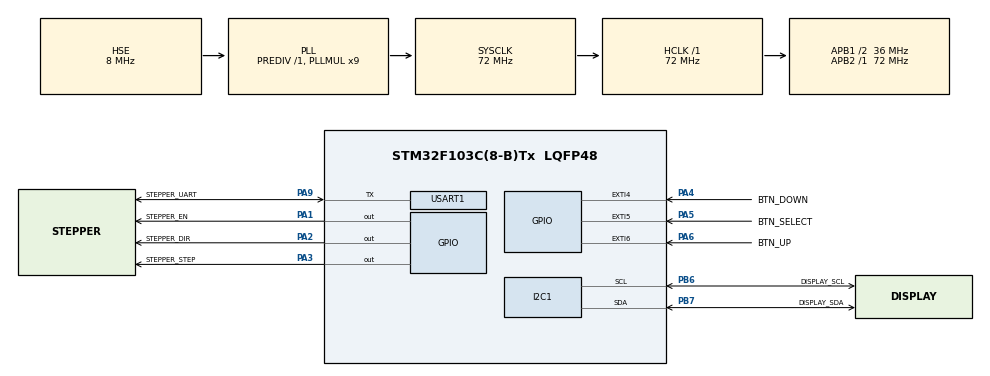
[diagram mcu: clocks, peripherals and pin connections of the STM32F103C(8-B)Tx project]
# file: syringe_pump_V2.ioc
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Mcu.Family=STM32F1
Mcu.Name=STM32F103C(8-B)Tx
Mcu.Package=LQFP48
NVIC.EXTI4_IRQn=true\:0\:0\:false\:false\:true\:true\:true\:true
NVIC.EXTI9_5_IRQn=true\:0\:0\:false\:false\:true\:true\:true\:true
NVIC.PriorityGroup=NVIC_PRIORITYGROUP_4
NVIC.TIM3_IRQn=true\:0\:0\:true\:false\:true\:true\:true\:true
NVIC.USART1_IRQn=true\:0\:0\:false\:false\:true\:true\:true\:true
PA1.GPIO_Label=STEPPER_EN
PA1.Signal=GPIO_Output
PA13.Mode=Serial_Wire
PA13.Signal=SYS_JTMS-SWDIO
PA14.Mode=Serial_Wire
PA14.Signal=SYS_JTCK-SWCLK
PA2.GPIO_Label=STEPPER_DIR
PA2.Signal=GPIO_Output
PA3.GPIO_Label=STEPPER_STEP
PA3.Signal=GPIO_Output
PA4.GPIO_Label=BTN_DOWN
PA4.Signal=GPXTI4
PA5.GPIO_Label=BTN_SELECT
PA5.Signal=GPXTI5
PA6.GPIO_Label=BTN_UP
PA6.Signal=GPXTI6
PA9.GPIO_Label=STEPPER_UART
PA9.Mode=Half_duplex(single_wire_mode)
PA9.Signal=USART1_TX
PB6.GPIO_Label=DISPLAY_SCL
PB6.Mode=I2C
PB6.Signal=I2C1_SCL
PB7.GPIO_Label=DISPLAY_SDA
PB7.Mode=I2C
PB7.Signal=I2C1_SDA
PD0-OSC_IN.Mode=HSE-External-Oscillator
PD0-OSC_IN.Signal=RCC_OSC_IN
PD1-OSC_OUT.Mode=HSE-External-Oscillator
PD1-OSC_OUT.Signal=RCC_OSC_OUT
ProjectManager.HeapSize=0x200
ProjectManager.StackSize=0x400
ProjectManager.TargetToolchain=STM32CubeIDE
RCC.AHBFreq_Value=72000000
RCC.APB1CLKDivider=RCC_HCLK_DIV2
RCC.APB1Freq_Value=36000000
RCC.APB1TimFreq_Value=72000000
RCC.APB2Freq_Value=72000000
RCC.APB2TimFreq_Value=72000000
RCC.HCLKFreq_Value=72000000
RCC.PLLMUL=RCC_PLL_MUL9
RCC.PLLSourceVirtual=RCC_PLLSOURCE_HSE
RCC.SYSCLKFreq_VALUE=72000000
RCC.SYSCLKSource=RCC_SYSCLKSOURCE_PLLCLK
RCC.USBFreq_Value=72000000
TIM3.AutoReloadPreload=TIM_AUTORELOAD_PRELOAD_ENABLE
TIM3.Prescaler=7200-1
USART1.BaudRate=115200
USART1.VirtualMode=VM_ASYNC
VP_TIM3_VS_ClockSourceINT.Mode=Internal
board=custom

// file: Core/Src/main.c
/* USER CODE BEGIN Header */
/**
 ******************************************************************************
 * @file           : main.c
 * @brief          : Main program body
 ******************************************************************************
 * @attention
 *
 * Copyright (c) 2025 STMicroelectronics.
 * All rights reserved.
 *
 * This software is licensed under terms that can be found in the LICENSE file
 * in the root directory of this software component.
 * If no LICENSE file comes with this software, it is provided AS-IS.
 *
 ******************************************************************************
 */
/* USER CODE END Header */
#include "main.h"

/* USER CODE BEGIN Includes */
#include <math.h>
#include <stdio.h>
#include <string.h>

#include "I2C_LCD_cfg.h"
#include "I2C_LCD.h"
#include "Util.h"
#include "TMC2208.h"

/* USER CODE END Includes */

/* USER CODE BEGIN PTD */
typedef struct
{
	float vol_jeringa;
	float vol_dispensar;
	float caudal;
	float diametro;
	float largo;
} ParametrosDispensado;

typedef struct
{
	uint32_t total_pasos;
	uint16_t arr;
	uint8_t micropasos;
} MovimientoMotor;

typedef enum
{
	MENU_VJERINGA,
	MENU_VDISPENSAR,
	MENU_CAUDAL,
	MENU_DIAM_LARGO,
	MENU_CONFIRMAR,
	MENU_EJECUTANDO
} EstadoMenu;

/* USER CODE END PTD */

/* USER CODE BEGIN PD */
#define PASOS_POR_VUELTA 	200
#define PASO_HUSILLO_MM 	8.0f
#define FCLK_TIMER 			72000000UL
#define MAX_STR 			32

#define MyI2C_LCD 			I2C_LCD_1

#define DEBOUNCE_DELAY		150

/* USER CODE END PD */

I2C_HandleTypeDef hi2c1;

TIM_HandleTypeDef htim3;

UART_HandleTypeDef huart1;

/* USER CODE BEGIN PV */
ParametrosDispensado parametros = {0};
MovimientoMotor motor_cfg = {0};
EstadoMenu estado_actual = MENU_VJERINGA;

volatile uint32_t pasos_dados = 0;
volatile uint32_t total_pasos_a_dar = 0;

uint32_t last_interrupt_time = 0;

/* USER CODE END PV */

void SystemClock_Config(void);
static void MX_GPIO_Init(void);
static void MX_USART1_UART_Init(void);
static void MX_TIM3_Init(void);
static void MX_I2C1_Init(void);

/* USER CODE BEGIN PFP */
float calcular_area_mm2(float d);
float calcular_desplazamiento_mm(ParametrosDispensado *p);
MovimientoMotor calcular_parametros_motor(ParametrosDispensado *p);
void configurar_timer_motor(uint16_t arr);
void mostrar_menu(void);
void avanzar_menu(void);
void incrementar_valor(void);
void decrementar_valor(void);
void boton_select_callback(void);

/* USER CODE END PFP */

int main(void)
{

	/* MCU Configuration--------------------------------------------------------*/

	/* Reset of all peripherals, Initializes the Flash interface and the Systick. */
	HAL_Init();

	/* Configure the system clock */
	SystemClock_Config();

	/* Initialize all configured peripherals */
	MX_GPIO_Init();
	MX_USART1_UART_Init();
	MX_TIM3_Init();
	MX_I2C1_Init();
	/* USER CODE BEGIN 2 */
	I2C_LCD_Init(MyI2C_LCD);
	I2C_LCD_Clear(MyI2C_LCD);
	mostrar_menu();

	/* USER CODE END 2 */

	/* Infinite loop */
	while (1)
	{

	}
}

void SystemClock_Config(void)
{
	RCC_OscInitTypeDef RCC_OscInitStruct = {0};
	RCC_ClkInitTypeDef RCC_ClkInitStruct = {0};

	/** Initializes the RCC Oscillators according to the specified parameters
	 * in the RCC_OscInitTypeDef structure.
	 */
	RCC_OscInitStruct.OscillatorType = RCC_OSCILLATORTYPE_HSE;
	RCC_OscInitStruct.HSEState = RCC_HSE_ON;
	RCC_OscInitStruct.HSEPredivValue = RCC_HSE_PREDIV_DIV1;
	RCC_OscInitStruct.HSIState = RCC_HSI_ON;
	RCC_OscInitStruct.PLL.PLLState = RCC_PLL_ON;
	RCC_OscInitStruct.PLL.PLLSource = RCC_PLLSOURCE_HSE;
	RCC_OscInitStruct.PLL.PLLMUL = RCC_PLL_MUL9;
	if (HAL_RCC_OscConfig(&RCC_OscInitStruct) != HAL_OK)
	{
		Error_Handler();
	}

	/** Initializes the CPU, AHB and APB buses clocks
	 */
	RCC_ClkInitStruct.ClockType = RCC_CLOCKTYPE_HCLK|RCC_CLOCKTYPE_SYSCLK
			|RCC_CLOCKTYPE_PCLK1|RCC_CLOCKTYPE_PCLK2;
	RCC_ClkInitStruct.SYSCLKSource = RCC_SYSCLKSOURCE_PLLCLK;
	RCC_ClkInitStruct.AHBCLKDivider = RCC_SYSCLK_DIV1;
	RCC_ClkInitStruct.APB1CLKDivider = RCC_HCLK_DIV2;
	RCC_ClkInitStruct.APB2CLKDivider = RCC_HCLK_DIV1;

	if (HAL_RCC_ClockConfig(&RCC_ClkInitStruct, FLASH_LATENCY_2) != HAL_OK)
	{
		Error_Handler();
	}
}

static void MX_I2C1_Init(void)
{

	hi2c1.Instance = I2C1;
	hi2c1.Init.ClockSpeed = 100000;
	hi2c1.Init.DutyCycle = I2C_DUTYCYCLE_2;
	hi2c1.Init.OwnAddress1 = 0;
	hi2c1.Init.AddressingMode = I2C_ADDRESSINGMODE_7BIT;
	hi2c1.Init.DualAddressMode = I2C_DUALADDRESS_DISABLE;
	hi2c1.Init.OwnAddress2 = 0;
	hi2c1.Init.GeneralCallMode = I2C_GENERALCALL_DISABLE;
	hi2c1.Init.NoStretchMode = I2C_NOSTRETCH_DISABLE;
	if (HAL_I2C_Init(&hi2c1) != HAL_OK)
	{
		Error_Handler();
	}

}

static void MX_TIM3_Init(void)
{

	TIM_ClockConfigTypeDef sClockSourceConfig = {0};
	TIM_MasterConfigTypeDef sMasterConfig = {0};

	htim3.Instance = TIM3;
	htim3.Init.Prescaler = 7200-1;
	htim3.Init.CounterMode = TIM_COUNTERMODE_UP;
	htim3.Init.Period = 65535;
	htim3.Init.ClockDivision = TIM_CLOCKDIVISION_DIV1;
	htim3.Init.AutoReloadPreload = TIM_AUTORELOAD_PRELOAD_ENABLE;
	if (HAL_TIM_Base_Init(&htim3) != HAL_OK)
	{
		Error_Handler();
	}
	sClockSourceConfig.ClockSource = TIM_CLOCKSOURCE_INTERNAL;
	if (HAL_TIM_ConfigClockSource(&htim3, &sClockSourceConfig) != HAL_OK)
	{
		Error_Handler();
	}
	sMasterConfig.MasterOutputTrigger = TIM_TRGO_RESET;
	sMasterConfig.MasterSlaveMode = TIM_MASTERSLAVEMODE_DISABLE;
	if (HAL_TIMEx_MasterConfigSynchronization(&htim3, &sMasterConfig) != HAL_OK)
	{
		Error_Handler();
	}

}

static void MX_USART1_UART_Init(void)
{

	huart1.Instance = USART1;
	huart1.Init.BaudRate = 115200;
	huart1.Init.WordLength = UART_WORDLENGTH_8B;
	huart1.Init.StopBits = UART_STOPBITS_1;
	huart1.Init.Parity = UART_PARITY_NONE;
	huart1.Init.Mode = UART_MODE_TX_RX;
	huart1.Init.HwFlowCtl = UART_HWCONTROL_NONE;
	huart1.Init.OverSampling = UART_OVERSAMPLING_16;
	if (HAL_HalfDuplex_Init(&huart1) != HAL_OK)
	{
		Error_Handler();
	}

}

static void MX_GPIO_Init(void)
{
	GPIO_InitTypeDef GPIO_InitStruct = {0};

	/* GPIO Ports Clock Enable */
	__HAL_RCC_GPIOD_CLK_ENABLE();
	__HAL_RCC_GPIOA_CLK_ENABLE();
	__HAL_RCC_GPIOB_CLK_ENABLE();

	/*Configure GPIO pin Output Level */
	HAL_GPIO_WritePin(GPIOA, STEPPER_EN_Pin|STEPPER_DIR_Pin|STEPPER_STEP_Pin, GPIO_PIN_RESET);

	/*Configure GPIO pins : STEPPER_EN_Pin STEPPER_DIR_Pin STEPPER_STEP_Pin */
	GPIO_InitStruct.Pin = STEPPER_EN_Pin|STEPPER_DIR_Pin|STEPPER_STEP_Pin;
	GPIO_InitStruct.Mode = GPIO_MODE_OUTPUT_PP;
	GPIO_InitStruct.Pull = GPIO_NOPULL;
	GPIO_InitStruct.Speed = GPIO_SPEED_FREQ_LOW;
	HAL_GPIO_Init(GPIOA, &GPIO_InitStruct);

	/*Configure GPIO pins : BTN_DOWN_Pin BTN_SELECT_Pin BTN_UP_Pin */
	GPIO_InitStruct.Pin = BTN_DOWN_Pin|BTN_SELECT_Pin|BTN_UP_Pin;
	GPIO_InitStruct.Mode = GPIO_MODE_IT_RISING;
	GPIO_InitStruct.Pull = GPIO_NOPULL;
	HAL_GPIO_Init(GPIOA, &GPIO_InitStruct);

	/* EXTI interrupt init*/
	HAL_NVIC_SetPriority(EXTI4_IRQn, 0, 0);
	HAL_NVIC_EnableIRQ(EXTI4_IRQn);

	HAL_NVIC_SetPriority(EXTI9_5_IRQn, 0, 0);
	HAL_NVIC_EnableIRQ(EXTI9_5_IRQn);

}

/* USER CODE BEGIN 4 */

// === FUNCIONES DE CÁLCULO ===
float calcular_area_mm2(float d)
{
    return (M_PI * d * d) / 4.0f;
}

float calcular_desplazamiento_mm(ParametrosDispensado *p)
{
    if(p->diametro > 0.0f)
        return (p->vol_dispensar * 1000.0f) / calcular_area_mm2(p->diametro);
    else
        return (p->vol_dispensar / p->vol_jeringa) * p->largo;
}

MovimientoMotor calcular_parametros_motor(ParametrosDispensado *p)
{
    MovimientoMotor res = {0};
    const int micros[] = {256, 128, 64, 32, 16, 8, 4, 2, 1};
    float mm = calcular_desplazamiento_mm(p);
    float tiempo = (p->vol_dispensar / p->caudal) * 60.0f;

    for(uint8_t i = 0; i < sizeof(micros); i++)
    {
        int micro = micros[i];
        float pasos = (mm / PASO_HUSILLO_MM) * PASOS_POR_VUELTA * micro;
        float freq = pasos / tiempo;
        uint32_t arr = (FCLK_TIMER / freq) - 1;

        if (arr <= 0xFFFF)
        {
            res.total_pasos = (uint32_t)pasos;
            res.arr = (uint16_t)arr;
            res.micropasos = micro;
            break;
        }
    }

    return res;
}

void configurar_timer_motor(uint16_t arr)
{
    TIM2->ARR = arr;
    TIM2->CNT = 0;
    TIM2->CR1 |= TIM_CR1_CEN;
}

// === FUNCIONES DE INTERFAZ ===
void mostrar_menu(void)
{
    char buffer[MAX_STR];
    I2C_LCD_Clear(MyI2C_LCD);

    switch(estado_actual) {
        case MENU_VJERINGA:
            sprintf(buffer, "Vol Jer[ml]:%.1f", parametros.vol_jeringa);
        break;
        case MENU_VDISPENSAR:
            sprintf(buffer, "Vol Disp[ml]:%.1f", parametros.vol_dispensar);
        break;
        case MENU_CAUDAL:
            sprintf(buffer, "Caudal[ml/min]:%.1f", parametros.caudal);
        break;
        case MENU_DIAM_LARGO:
            if (parametros.diametro > 0)
                sprintf(buffer, "Diam[mm]:%.2f", parametros.diametro);
            else
                sprintf(buffer, "Largo[mm]:%.2f", parametros.largo);
        break;
        case MENU_CONFIRMAR:
            sprintf(buffer, "Iniciar");
        break;
        case MENU_EJECUTANDO:
            sprintf(buffer, "Ejecutando...");
        break;
        default:
        	return;
    }

    I2C_LCD_SetCursor(MyI2C_LCD, 0, 0);
    I2C_LCD_WriteString(MyI2C_LCD, buffer);
}

void avanzar_menu(void)
{
    if (estado_actual < MENU_CONFIRMAR)
        estado_actual++;
    else
        estado_actual = MENU_VJERINGA;

    mostrar_menu();
}

void incrementar_valor(void)
{
    switch (estado_actual) {
        case MENU_VJERINGA:
        	parametros.vol_jeringa += 0.1f;
        break;
        case MENU_VDISPENSAR:
        	parametros.vol_dispensar += 0.1f;
        break;
        case MENU_CAUDAL:
        	parametros.caudal += 0.1f;
        break;
        case MENU_DIAM_LARGO:
            if (parametros.diametro > 0)
                parametros.diametro += 0.1f;
            else
                parametros.largo += 0.1f;
        break;
        default:
        	return;
    }
    mostrar_menu();
}

void decrementar_valor(void)
{
    switch (estado_actual) {
        case MENU_VJERINGA:
        	if(parametros.vol_jeringa > 0.1f)
        		parametros.vol_jeringa -= 0.1f;
        break;
        case MENU_VDISPENSAR:
        	if(parametros.vol_dispensar > 0.1f)
        		parametros.vol_dispensar -= 0.1f;
        break;
        case MENU_CAUDAL:
        	if(parametros.caudal > 0.1f)
        		parametros.caudal -= 0.1f;
        break;
        case MENU_DIAM_LARGO:
            if(parametros.diametro > 0.1f)
                parametros.diametro -= 0.1f;
            else if(parametros.largo > 0.1f)
                parametros.largo -= 0.1f;
        break;
        default:
        	return;
    }
    mostrar_menu();
}

void boton_select_callback(void)
{
    if(estado_actual == MENU_CONFIRMAR)
    {
        estado_actual = MENU_EJECUTANDO;
        mostrar_menu();
        motor_cfg = calcular_parametros_motor(&parametros);
        configurar_timer_motor(motor_cfg.arr);
        total_pasos_a_dar = motor_cfg.total_pasos;
        pasos_dados = 0;
        TMC2208_SetMicrostepping(motor_cfg.micropasos);
    } else
    {
        avanzar_menu();
    }
}

void HAL_GPIO_EXTI_Callback(uint16_t GPIO_Pin)
{
	uint32_t interrup_time = HAL_GetTick();
	if(interrup_time - last_interrupt_time > DEBOUNCE_DELAY)
	{
		switch(GPIO_Pin)
		{
			case BTN_DOWN_Pin:
				 decrementar_valor();
			break;
			case BTN_SELECT_Pin:
				boton_select_callback();
			break;
			case BTN_UP_Pin:
				incrementar_valor();
			break;
		}
		last_interrupt_time = interrup_time;
	}
}

void HAL_TIM_PeriodElapsedCallback(TIM_HandleTypeDef *htim)
{
	if(htim->Instance == TIM3)
	{

	}
}

/* USER CODE END 4 */

void Error_Handler(void)
{
	__disable_irq();
	while (1)
	{
	}
}
